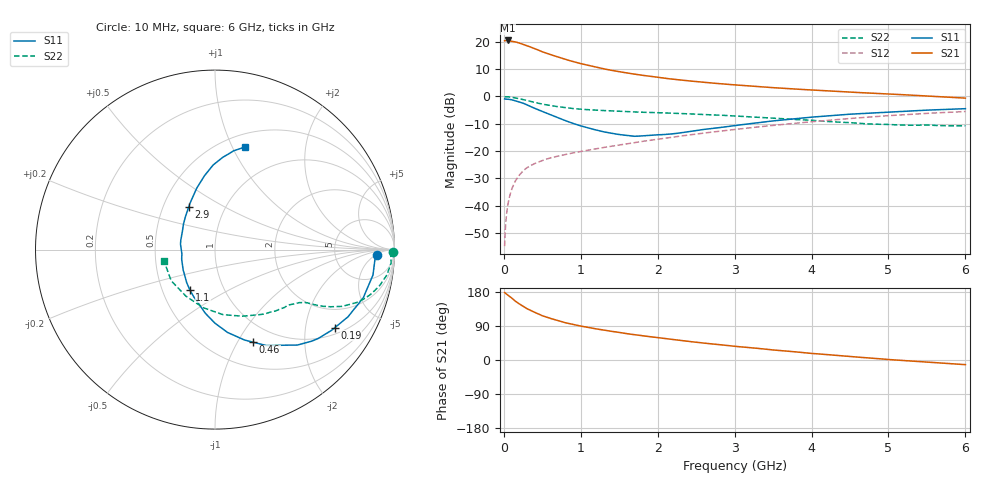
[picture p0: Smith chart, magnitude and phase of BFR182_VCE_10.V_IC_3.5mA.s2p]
! Infineon Technologies  Discrete & RF Semiconductors
! BFR182
! VCE =  10. V,  IC =  3.5 mA
! Common Emitter S-Parameters:  Nov 2015
# GHz  S  MA  R  50
!  f  S11  S21  S12  S22
! GHz  MAG  ANG  MAG  ANG  MAG  ANG  MAG  ANG
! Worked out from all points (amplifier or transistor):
!   210 points, 10 MHz to 6 GHz, reference 50 ohm
!   highest |S21| = 20.5 dB at 50 MHz (marker M1)
!   |S21| within 3 dB of that: start of sweep to 405.4 MHz
!   unconditionally stable (mu >= 1): 1.285 GHz to 3.099 GHz
!   at 185 MHz: K = 0.26, MSG = 24.6 dB, |S12| = -29.5 dB
!   at 1.52 GHz: K = 1.04, MAG = 12.1 dB, |S12| = -17.7 dB
!   at 6 GHz: K = 0.88, MSG = 2.5 dB, |S12| = -5.6 dB
!   S11 on the Smith chart (normalised r, x): 10 MHz: 18, -6; 190 MHz: 1.22, -2.90; 460 MHz: 0.78, -1.16; 1.1 GHz: 0.69, -0.33; 2.9 GHz: 0.67, +0.35; 6 GHz: 0.63, +1.12
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0.01  0.902 -1.9  10.48 178.1  0.0018 86.0  0.9904 -0.8
0.025  0.8919 -4.5  10.53 175.5  0.0048 82.8  0.9802 -2.1
0.05  0.8915 -9.1  10.6 171.5  0.01 82.9  0.9841 -4.3
0.15  0.8304 -26.8  10 155.1  0.0282 75.0  0.9393 -12.3
0.19  0.7968 -33.1  9.63 149.6  0.0343 72.0  0.9135 -14.9
0.24  0.7596 -40.6  9.076 143.1  0.0416 68.4  0.8818 -17.7
0.3  0.7025 -49.2  8.498 135.5  0.0493 65.4  0.842 -20.5
0.4  0.6058 -61.9  7.56 125.6  0.0587 61.4  0.7749 -24.1
0.46  0.5583 -67.6  6.945 120.6  0.0635 59.8  0.7426 -25.3
0.5  0.5301 -71.9  6.569 116.8  0.0667 58.8  0.7213 -26.2
0.6  0.4667 -81.4  5.87 110.0  0.0743 57.1  0.6826 -27.6
0.7  0.4096 -90.1  5.295 103.8  0.0802 56.5  0.6488 -28.6
0.88  0.3271 -104.1  4.431 94.5  0.091 56.3  0.6041 -29.7
1.02  0.2832 -115.7  3.927 88.8  0.0987 56.6  0.5797 -30.6
1.1  0.2638 -122.3  3.696 85.8  0.1037 56.8  0.5699 -31.2
1.4  0.2116 -146.6  2.996 75.6  0.122 57.6  0.5427 -33.6
2.02  0.198 163.5  2.212 58.3  0.1659 58.4  0.5025 -40.0
2.9  0.2795 121.6  1.668 38.5  0.2384 55.3  0.446 -53.9
3.1  0.3037 115.9  1.587 34.4  0.2566 54.0  0.4297 -58.0
4.1  0.4271 96.5  1.286 15.9  0.3528 45.6  0.3557 -86.2
5.1  0.5242 83.9  1.091 -0.0  0.4527 34.0  0.3009 -126.2
6  0.5957 73.7  0.93 -12.3  0.5278 21.3  0.2906 -166.9
